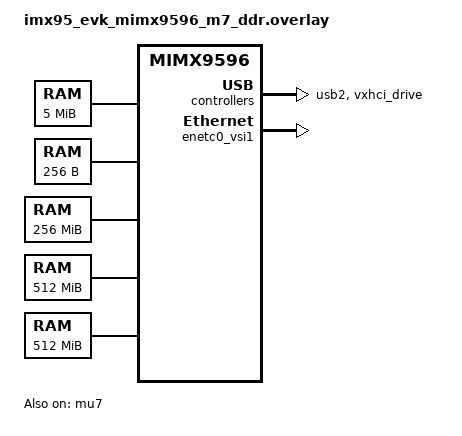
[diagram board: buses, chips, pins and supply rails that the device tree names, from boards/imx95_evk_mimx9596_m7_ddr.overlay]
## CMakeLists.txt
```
# SPDX-License-Identifier: Apache-2.0
cmake_minimum_required(VERSION 3.20.0)

# Out-of-tree drivers of this repo (USB2 EHCI host): zephyr/modules/devenv
list(APPEND ZEPHYR_EXTRA_MODULES ${CMAKE_CURRENT_SOURCE_DIR}/../../modules/devenv)

find_package(Zephyr REQUIRED HINTS $ENV{ZEPHYR_BASE})
project(m7_netipc)

target_include_directories(app PRIVATE ${LIBMETAL_INCLUDE_DIR} ${OPENAMP_INCLUDE_DIR} ${PLATFORM_DIR})
target_sources(app PRIVATE src/main.c src/rpmsg.c src/net.c src/reflector.c src/shm.c)
# Zephyr's own USB host stack on USB2 (off while the vEHCI translator owns USB2)
target_sources_ifdef(CONFIG_USB_HOST_STACK app PRIVATE src/usb.c)
target_sources_ifdef(CONFIG_APP_VEHCI app PRIVATE src/vehci_a55.c src/a55_irq.c)
target_sources_ifdef(CONFIG_APP_VXHCI app PRIVATE src/vxhci_a55.c)
if(CONFIG_APP_VXHCI AND NOT CONFIG_APP_VEHCI)
  target_sources(app PRIVATE src/a55_irq.c)
endif()

# Linux imx_rproc (fsl,imx95-cm7) takes the M7 boot address from an ELF section
# named ".interrupts" (MCUXpresso SDK naming) and falls back to 0 (TCM) if there
# is none. Zephyr's vector table section is "rom_start", so a DDR image would be
# started at address 0 and hang silently (seen on hardware 2026-11-16). Rename
# the section in the final ELF; segments and load addresses are unchanged.
# Zephyr's own post-build hooks are collected inside find_package(Zephyr),
# before this file's code runs, so use a separate target that runs after the
# final link. objcopy --rename-section is a no-op once the name is changed.
add_custom_target(imx_rproc_vectors ALL
  COMMAND ${CMAKE_OBJCOPY} --rename-section rom_start=.interrupts
          ${ZEPHYR_BINARY_DIR}/${KERNEL_ELF_NAME}
  COMMENT "Renaming rom_start -> .interrupts for Linux imx_rproc"
)
add_dependencies(imx_rproc_vectors ${logical_target_for_zephyr_elf})
```

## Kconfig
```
# SPDX-License-Identifier: Apache-2.0
mainmenu "m7-netipc"

config APP_USB2_AUTOSTART
	bool "Start the USB2 host at boot"
	default y
	depends on USB_HOST_STACK
	help
	  Needs the M7 to own USB2 (SM config mx95devenv with USB2 in LM1);
	  otherwise the first register access is a bus fault. Without it,
	  start the host with the "usb2 start" shell command.

config APP_VEHCI
	bool "Wimmo virtual EHCI for Linux on the A55"
	default y
	select VEHCI
	help
	  Emulate an EHCI controller in the first 4 KiB of the m7shm window for
	  Linux's stock ehci-platform driver (see src/vehci_a55.c).

config APP_VEHCI_XLAT
	bool "Translate the Wimmo virtual EHCI to the physical USB2 controller"
	default y
	depends on APP_VEHCI && !USB_HOST_STACK
	select VEHCI_XLAT
	help
	  Linux's EHCI driver enumerates and drives the devices on the physical
	  USB2 port through the virtual EHCI; the M7 relays every stage.

config APP_VEHCI_TESTDEV
	bool "Attach the Wimmo test device at boot"
	default y
	depends on APP_VEHCI && !APP_VEHCI_XLAT

config APP_VXHCI
	bool "Wimmo virtual xHCI with a virtual USB 3.0 drive, for Linux on the A55"
	default y
	select VXHCI
	help
	  Emulate an xHCI controller in the second 4 KiB of the m7shm window
	  for Linux's stock xhci-plat driver, with a RAM-backed SuperSpeed
	  mass storage device on its USB 3 port (see src/vxhci_a55.c).

source "Kconfig.zephyr"
```

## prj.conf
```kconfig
# m7-netipc: Zephyr on the i.MX95 Cortex-M7, loaded by Linux (remoteproc)
CONFIG_MAIN_STACK_SIZE=4096
CONFIG_HEAP_MEM_POOL_SIZE=65536

# --- IPC: OpenAMP RPMsg with a resource table (Linux is the host) ---
CONFIG_IPM=y
CONFIG_OPENAMP=y
CONFIG_OPENAMP_RSC_TABLE=y
CONFIG_OPENAMP_RSC_TABLE_NUM_RPMSG_BUFF=16
CONFIG_OPENAMP_MASTER=n

# --- Shell on the M7 debug UART and over RPMsg (/dev/ttyRPMSG* on Linux) ---
CONFIG_SHELL=y
CONFIG_SHELL_BACKEND_SERIAL=y
CONFIG_SHELL_BACKEND_RPMSG=y
CONFIG_SHELL_STACK_SIZE=4096
CONFIG_SHELL_PROMPT_RPMSG="m7:~$ "
CONFIG_SHELL_PROMPT_UART="m7-uart:~$ "
CONFIG_KERNEL_SHELL=y
CONFIG_DEVICE_SHELL=y
# devmem <addr> [width [value]]: raw register access from the shell (bring-up)
CONFIG_DEVMEM_SHELL=y

# --- Logging ---
CONFIG_LOG=y
CONFIG_LOG_DEFAULT_LEVEL=3
CONFIG_PRINTK=y

# --- Networking over the ENETC0 VF (VSI) shared with Linux ---
CONFIG_NETWORKING=y
CONFIG_NET_L2_ETHERNET=y
CONFIG_NET_IPV4=y
CONFIG_NET_IPV6=n
CONFIG_NET_UDP=y
CONFIG_NET_TCP=y
CONFIG_NET_ARP=y
CONFIG_NET_ICMPV4_ACCEPT_BROADCAST=y
CONFIG_NET_SOCKETS=y
CONFIG_NET_DHCPV4=y
# The app starts DHCPv4 itself after adopting the Linux-assigned VF MAC
# (src/net.c), so net_config must not start a second client at boot.
CONFIG_NET_CONFIG_SETTINGS=n
# Needed to change the MAC (NET_REQUEST_ETHERNET_SET_MAC_ADDRESS)
CONFIG_NET_L2_ETHERNET_MGMT=y
# 169.254.x.x link-local address when there is no DHCP server, e.g. a cable
# straight to a laptop
CONFIG_NET_IPV4_AUTO=y
CONFIG_NET_MGMT=y
CONFIG_NET_MGMT_EVENT=y
CONFIG_NET_MGMT_EVENT_INFO=y
CONFIG_NET_PKT_RX_COUNT=32
CONFIG_NET_PKT_TX_COUNT=32
CONFIG_NET_BUF_RX_COUNT=64
CONFIG_NET_BUF_TX_COUNT=64
CONFIG_NET_MAX_CONTEXTS=10
CONFIG_NET_SHELL=y
CONFIG_NET_STATISTICS=y
CONFIG_NET_STATISTICS_ETHERNET=y
CONFIG_NET_LOG=y
CONFIG_POSIX_API=y
CONFIG_ETH_DRIVER=y

# --- Random numbers ---
# The M7 has no entropy driver (the TRNG belongs to the ELE). The timer-based
# generator is fine for TCP ports/DHCP xids but NOT cryptographically secure.
CONFIG_TEST_RANDOM_GENERATOR=y
CONFIG_TIMER_RANDOM_GENERATOR=y

# --- L2 reflector (src/reflector.c) ---
# Process received frames in the NETC driver's RX thread instead of handing
# them to a separate RX traffic-class thread: one context switch less per
# frame. The whole stack (ARP, UDP, TCP, DHCP) then runs in that thread, so
# it needs a bigger stack than the driver's default 1500 bytes.
CONFIG_NET_TC_RX_COUNT=0
CONFIG_ETH_NXP_IMX_RX_THREAD_STACK_SIZE=4096
# Core cycle counter (DWT) for timing the reflector handler
CONFIG_TIMING_FUNCTIONS=y

# --- USB2 (EHCI, modules/devenv uhc_ci_ehci) ---
# The Wimmo virtual EHCI translator (APP_VEHCI_XLAT) drives USB2 for Linux.
# For Zephyr's own USB host stack on USB2 instead, set CONFIG_USB_HOST_STACK=y
# (plus CONFIG_USBH_HUB_CLASS/CONFIG_USBH_SHELL); that turns the translator off.
CONFIG_UHC_DRIVER=y
CONFIG_UHC_DRIVER_LOG_LEVEL_INF=y

# Per-thread CPU time (vehci perf)
CONFIG_THREAD_RUNTIME_STATS=y
CONFIG_SCHED_THREAD_USAGE_ALL=y
# count thread time in CPU cycles (DWT), not 32 kHz timer ticks
CONFIG_THREAD_RUNTIME_STATS_USE_TIMING_FUNCTIONS=y

# Optimize for speed (-O2) rather than size: the vEHCI/translator hot paths
CONFIG_SPEED_OPTIMIZATIONS=y
```

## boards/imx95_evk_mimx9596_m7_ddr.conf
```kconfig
# From samples/subsys/ipc/openamp_rsc_table/boards/imx95_evk_mimx9596_m7.conf
CONFIG_CLOCK_CONTROL=y
CONFIG_OPENAMP_WITH_DCACHE=y
CONFIG_ARM_SCMI=y
CONFIG_MBOX_INIT_PRIORITY=0
# Off: Linux copies its resource table to 0x88220000 before starting the M7 and
# the app uses it in place (see src/rpmsg.c). Copying would clobber the vrings.
CONFIG_OPENAMP_COPY_RSC_TABLE=n
```

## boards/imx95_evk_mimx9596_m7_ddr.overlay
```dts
/*
 * SPDX-License-Identifier: Apache-2.0
 *
 * m7-netipc on the i.MX95 EVK Cortex-M7, running from DDR (0x80000000, loaded
 * by Linux remoteproc into the m7-ddr reserved region).
 *
 * IPC: same layout as the Linux imx95-19x19-evk dts cm7 node - vrings and
 * vdev buffers at 0x88000000, resource table at 0x88220000, MU7 doorbells.
 *
 * Ethernet: Linux owns NETC (block control, PSI/PF, EMDIO, PHY, PTP). The M7
 * drives only ENETC0 VF1 (VSI) through the same RJ45 port; the System Manager
 * config mx95devenv grants NETC_VSI1/NETC_LDID3 to the M7, and Linux's
 * m7-vf-handoff.service enables and trusts the VF.
 */

#include <zephyr/dt-bindings/memory-attr/memory-attr-arm.h>

/ {
	chosen {
		zephyr,ipc_shm = &shmem;
		zephyr,ipc_rsc_table = &rsc_table;
		zephyr,ipc = &mailbox0;
	};

	shmem: memory@88000000 {
		compatible = "mmio-sram";
		reg = <0x88000000 0x500000>;
	};

	rsc_table: memory@88220000 {
		compatible = "mmio-sram";
		reg = <0x88220000 0x100>;
	};

	mailbox0: mailbox {
		compatible = "zephyr,mbox-ipm";
		mboxes = <&mu7 1>, <&mu7 1>;
		mbox-names = "tx", "rx";
		status = "okay";
	};

	/*
	 * Memory window shared with Linux: the upper 128 KiB of DTCM. The DDR
	 * board target puts nothing in DTCM (zephyr,sram = &ddr). Linux maps the
	 * same memory at 0x20420000 (devenv dts m7-shm node, m7shm.ko); keep
	 * both in sync.
	 */
	m7shm: m7shm@20020000 {
		compatible = "devenv,imx95-m7shm";
		reg = <0x20020000 DT_SIZE_K(128)>;
	};

	/*
	 * USB2: ChipIdea EHCI host on the EVK Type-A port, owned by the M7 (SM
	 * config mx95devenv: USB2 in LM1; Linux has no USB2 node). Driver:
	 * modules/devenv uhc_ci_ehci. EHCI structures go in the first 32 KiB of
	 * DTCM (never cached on the M7); the controller reaches DTCM at
	 * 0x20400000 on the system bus, untranslated by the SMMU (m7-dma-handoff).
	 */
	usb2: zephyr_uhc0: usb@4c200000 {
		compatible = "devenv,ci-ehci";
		reg = <0x4c200000 0x200>, <0x4c200200 0x200>;
		reg-names = "core", "usbnc";
		interrupt-parent = <&nvic>;
		interrupts = <176 0>;
		devenv,pool = <0x20000000 DT_SIZE_K(32)>;
		devenv,pool-bus-addr = <0x20400000>;
		disable-over-current;
		status = "okay";
	};

	/*
	 * Linux DDR that the virtual EHCI ("Wimmo", src/vehci_a55.c) reads and
	 * writes: Linux's queue heads, qTDs and buffers for 32-bit DMA. The SM
	 * config grants the M7 0x90000000-0xDFFFFFFF; Linux keeps the vEHCI's DMA
	 * there (dma-ranges). Not cached on the M7, so both sides see each other's
	 * writes (Linux maps its coherent DMA memory non-cacheable too).
	 * ARMv7-M MPU regions: power-of-two sizes, aligned.
	 */
	/*
	 * Backing store of the virtual USB 3.0 drive (src/vxhci_a55.c): M7 DDR
	 * above the image, inside Linux's m7 reservation window but outside
	 * Linux RAM (which starts at 0x90000000). Cached: only the M7 uses it.
	 */
	vxhci_drive: memory@83000000 {
		compatible = "zephyr,memory-region", "mmio-sram";
		reg = <0x83000000 DT_SIZE_M(64)>;
		zephyr,memory-region = "VXHCI_DRIVE";
		zephyr,memory-attr = <DT_MEM_ARM(ATTR_MPU_RAM)>;
	};

	linux_ddr0: memory@90000000 {
		compatible = "zephyr,memory-region", "mmio-sram";
		reg = <0x90000000 DT_SIZE_M(256)>;
		zephyr,memory-region = "LINUX_DDR0";
		zephyr,memory-attr = <DT_MEM_ARM(ATTR_MPU_RAM_NOCACHE)>;
	};

	linux_ddr1: memory@a0000000 {
		compatible = "zephyr,memory-region", "mmio-sram";
		reg = <0xa0000000 DT_SIZE_M(512)>;
		zephyr,memory-region = "LINUX_DDR1";
		zephyr,memory-attr = <DT_MEM_ARM(ATTR_MPU_RAM_NOCACHE)>;
	};

	linux_ddr2: memory@c0000000 {
		compatible = "zephyr,memory-region", "mmio-sram";
		reg = <0xc0000000 DT_SIZE_M(512)>;
		zephyr,memory-region = "LINUX_DDR2";
		zephyr,memory-attr = <DT_MEM_ARM(ATTR_MPU_RAM_NOCACHE)>;
	};
};

&mu7 {
	status = "okay";
};

/* Owned by Linux on the A55 */
&netc_blk_ctrl {
	status = "disabled";
};

&enetc_psi0 {
	status = "disabled";
};

&emdio {
	status = "disabled";
};

&phy0 {
	status = "disabled";
};

&enetc_ptp_clock {
	status = "disabled";
};

/* ENETC0 VF1: the M7's network interface on the shared RJ45 port. Fixed,
 * locally administered MAC; Linux's m7-vf-handoff assigns the same one (VF_MAC).
 */
&enetc0_vsi1 {
	local-mac-address = [02 04 9f 95 00 07];
	status = "okay";
};
```

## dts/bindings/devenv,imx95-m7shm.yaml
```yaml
# SPDX-License-Identifier: Apache-2.0
description: |
  Memory window shared with Linux on the A55, in the M7 DTCM. Linux reaches
  the same memory through the M7 system-bus slave port (DTCM 0x20000000 on the
  M7 = 0x20400000 on the A55); its node is m7-shm@20420000 in the devenv dts.
  The M7 zeroes the window at boot and otherwise does not use it.

compatible: "devenv,imx95-m7shm"

include: base.yaml

properties:
  reg:
    required: true
```

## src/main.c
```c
/*
 * m7-netipc: reference Zephyr application for the i.MX95 Cortex-M7.
 *
 *  - loaded and started by Linux via remoteproc (m7ctl run <elf>)
 *  - RPMsg link to Linux: Zephyr shell on /dev/ttyRPMSG0, echo endpoint
 *  - Ethernet on ENETC0 VF1, sharing the RJ45 port with Linux (own MAC/IP)
 *  - "m7 status" shell command summarising all of the above
 *
 * Copyright (c) 2026, imx95-devenv contributors
 * SPDX-License-Identifier: Apache-2.0
 */

#include <zephyr/kernel.h>
#include <zephyr/shell/shell.h>
#include <zephyr/net/net_if.h>
#include <zephyr/logging/log.h>

#include "app.h"

LOG_MODULE_REGISTER(m7_netipc, LOG_LEVEL_INF);

volatile bool app_rpmsg_up;
char app_ip_str[NET_IPV4_ADDR_LEN] = "none";
volatile uint32_t app_udp_echo_count;

static int cmd_m7_status(const struct shell *sh, size_t argc, char **argv)
{
	struct net_if *iface = net_if_get_default();
	char mac[sizeof("xx:xx:xx:xx:xx:xx")] = "-";

	if (iface) {
		struct net_linkaddr *l = net_if_get_link_addr(iface);

		if (l->len == 6) {
			snprintk(mac, sizeof(mac), "%02x:%02x:%02x:%02x:%02x:%02x", l->addr[0],
				 l->addr[1], l->addr[2], l->addr[3], l->addr[4], l->addr[5]);
		}
	}
	shell_print(sh, "m7-netipc on %s, up %u s", CONFIG_BOARD_TARGET,
		    (uint32_t)(k_uptime_get() / 1000));
	shell_print(sh, "rpmsg:    %s", app_rpmsg_up ? "up" : "waiting for Linux");
	shell_print(sh, "ethernet: VF %s, carrier %s, mac %s",
		    iface ? "present" : "missing",
		    (iface && net_if_is_carrier_ok(iface)) ? "up" : "down", mac);
	shell_print(sh, "ipv4:     %s", app_ip_str);
	shell_print(sh, "udp echo: port 7, %u datagrams", app_udp_echo_count);
	return 0;
}

SHELL_STATIC_SUBCMD_SET_CREATE(m7_cmds,
	SHELL_CMD(status, NULL, "RPMsg/Ethernet status", cmd_m7_status),
	SHELL_SUBCMD_SET_END);
SHELL_CMD_REGISTER(m7, &m7_cmds, "imx95-devenv M7 commands", NULL);

int main(void)
{
	LOG_INF("m7-netipc starting on %s", CONFIG_BOARD_TARGET);
	app_net_start();
	return 0;
}
```

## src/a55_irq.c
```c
/*
 * Shared A55 interrupt line of the Wimmo virtual controllers (see a55_irq.h).
 * Writing MSIIR raises MSGINTR1, reading MSIR clears it; Linux never touches it.
 *
 * Copyright (c) 2026, imx95-devenv contributors
 * SPDX-License-Identifier: Apache-2.0
 */

#include <zephyr/init.h>
#include <zephyr/kernel.h>
#include <zephyr/sys/sys_io.h>

#include "a55_irq.h"

#define A55_MSGINTR_BASE	0x44690000U
#define MSGINTR_MSIIR	0x0	/* channel 0 */
#define MSGINTR_MSIR	0x4

static struct k_spinlock lock;
static uint32_t sources;

void a55_irq_set(enum a55_irq_src src, bool asserted)
{
	k_spinlock_key_t key = k_spin_lock(&lock);
	uint32_t before = sources;

	if (asserted) {
		sources |= BIT(src);
	} else {
		sources &= ~BIT(src);
	}
	if (sources && !before) {
		sys_write32(0, A55_MSGINTR_BASE + MSGINTR_MSIIR);
	} else if (!sources && before) {
		(void)sys_read32(A55_MSGINTR_BASE + MSGINTR_MSIR);
	}
	k_spin_unlock(&lock, key);
}

static int a55_irq_init(void)
{
	(void)sys_read32(A55_MSGINTR_BASE + MSGINTR_MSIR);	/* start deasserted */
	return 0;
}
SYS_INIT(a55_irq_init, APPLICATION, 97);
```

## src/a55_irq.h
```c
/* SPDX-License-Identifier: Apache-2.0 */
/*
 * The A55 interrupt line of the Wimmo virtual controllers: MSGINTR1 channel 0,
 * wired to the A55 GIC as SPI 236 (level). The virtual EHCI and xHCI share it
 * (Linux requests it shared): the line is held while either has one pending.
 */
#ifndef M7_NETIPC_A55_IRQ_H
#define M7_NETIPC_A55_IRQ_H

#include <stdbool.h>

enum a55_irq_src {
	A55_IRQ_VEHCI,
	A55_IRQ_VXHCI,
};

void a55_irq_set(enum a55_irq_src src, bool asserted);

#endif
```

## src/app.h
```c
/* SPDX-License-Identifier: Apache-2.0 */
#ifndef M7_NETIPC_APP_H
#define M7_NETIPC_APP_H

#include <stdbool.h>
#include <stdint.h>
#include <zephyr/net/net_ip.h>

extern volatile bool app_rpmsg_up;
extern char app_ip_str[NET_IPV4_ADDR_LEN];
extern volatile uint32_t app_udp_echo_count;

void app_net_start(void);

#endif
```

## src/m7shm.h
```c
/* SPDX-License-Identifier: Apache-2.0 */
/*
 * Memory window in the M7 DTCM, shared with Linux (m7shm.ko, /dev/m7shm).
 * The first 4 KiB hold the Wimmo virtual EHCI's registers (CONFIG_APP_VEHCI),
 * the next 4 KiB the virtual xHCI's (CONFIG_APP_VXHCI).
 * TCM is never cached on the M7, so no cache maintenance is needed; use
 * barrier_dmem_fence_full() where the other side must see writes in order.
 */
#ifndef M7_NETIPC_M7SHM_H
#define M7_NETIPC_M7SHM_H

#include <stddef.h>
#include <stdint.h>
#include <zephyr/devicetree.h>

#define M7SHM_NODE DT_NODELABEL(m7shm)
#define M7SHM_BASE DT_REG_ADDR(M7SHM_NODE)
#define M7SHM_SIZE DT_REG_SIZE(M7SHM_NODE)

static inline volatile void *m7shm_base(void)
{
	return (volatile void *)M7SHM_BASE;
}

static inline size_t m7shm_size(void)
{
	return M7SHM_SIZE;
}

#endif
```

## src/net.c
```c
/*
 * Networking on the M7's ENETC0 VF (VSI), sharing the RJ45 port with Linux.
 *
 * DHCPv4 gets the M7 its own address on the LAN (its own MAC; the NETC
 * hardware steers frames for that MAC to the VF and everything else to the
 * Linux PF). A UDP echo service runs on port 7 so the M7 path can be tested
 * from Linux on the board or any host: `echo hi | nc -u -w1 <m7-ip> 7`.
 *
 * Copyright (c) 2026, imx95-devenv contributors
 * SPDX-License-Identifier: Apache-2.0
 */

#include <zephyr/kernel.h>
#include <zephyr/net/net_if.h>
#include <zephyr/net/net_mgmt.h>
#include <zephyr/net/dhcpv4.h>
#include <zephyr/net/socket.h>
#include <zephyr/net/ethernet_mgmt.h>
#include <zephyr/net/net_ip.h>
#include <zephyr/sys/sys_io.h>
#include <string.h>
#include <zephyr/logging/log.h>

#include "app.h"

LOG_MODULE_REGISTER(m7_net, LOG_LEVEL_INF);

#define UDP_ECHO_PORT 7

static struct net_mgmt_event_callback mgmt_cb;

static void ipv4_event(struct net_mgmt_event_callback *cb, uint64_t event, struct net_if *iface)
{
	char buf[NET_IPV4_ADDR_LEN];

	if (event != NET_EVENT_IPV4_ADDR_ADD) {
		return;
	}
	ARRAY_FOR_EACH(iface->config.ip.ipv4->unicast, i) {
		struct net_if_addr *a = &iface->config.ip.ipv4->unicast[i].ipv4;

		if (a->is_used && a->addr_type == NET_ADDR_DHCP) {
			net_addr_ntop(AF_INET, &a->address.in_addr, buf, sizeof(buf));
			snprintk(app_ip_str, sizeof(app_ip_str), "%s", buf);
			LOG_INF("M7 IPv4 address (DHCP): %s", buf);
		}
	}
}

static void udp_echo_thread(void *a, void *b, void *c)
{
	struct sockaddr_in addr = {
		.sin_family = AF_INET,
		.sin_port = htons(UDP_ECHO_PORT),
		.sin_addr.s_addr = htonl(INADDR_ANY),
	};
	static char buf[1500];
	int s = zsock_socket(AF_INET, SOCK_DGRAM, IPPROTO_UDP);

	if (s < 0 || zsock_bind(s, (struct sockaddr *)&addr, sizeof(addr)) < 0) {
		LOG_ERR("UDP echo socket setup failed: %d", errno);
		return;
	}
	LOG_INF("UDP echo listening on port %d", UDP_ECHO_PORT);

	while (1) {
		struct sockaddr_in peer;
		socklen_t plen = sizeof(peer);
		ssize_t n = zsock_recvfrom(s, buf, sizeof(buf), 0, (struct sockaddr *)&peer,
					   &plen);

		if (n > 0) {
			app_udp_echo_count++;
			zsock_sendto(s, buf, n, 0, (struct sockaddr *)&peer, plen);
		}
	}
}

K_THREAD_DEFINE(udp_echo_tid, 4096, udp_echo_thread, NULL, NULL, NULL, 7, 0, 1000);

/*
 * Use the MAC address Linux (the PSI/PF owner) assigned to this VF.
 *
 * Linux enetc4 gives every VF an administrative MAC (`ip link show eth0`:
 * "vf 1 link/ether 02:04:9f:95:00:07") and its MAC filter only accepts that address
 * for the VF, so the PSI rejects any other primary MAC the VSI asks for
 * ("VSI MAC filter not accepted by PSI", seen on hardware 2026-11-16) and
 * unicast frames for it never reach the M7. The assigned address is readable
 * from the VSI's own SIPMAR0/1 registers once the VF is enabled. m7-vf-handoff
 * assigns the same fixed MAC as the overlay's local-mac-address, so normally
 * nothing changes here; this keeps the M7 working if VF_MAC is overridden.
 */
#define VSI_NODE    DT_NODELABEL(enetc0_vsi1)
#define VSI_BASE    DT_REG_ADDR_BY_NAME(VSI_NODE, port)
#define VSI_SIPMAR0 0x80
#define VSI_SIPMAR1 0x84

static void adopt_psi_mac(struct net_if *iface)
{
	struct ethernet_req_params params = {0};
	uint32_t lo, hi;
	int ret;

	/* The SI registers are only valid once Linux has enabled SR-IOV and the
	 * driver brought the SI up (it then reports carrier).
	 */
	for (int i = 0; i < 300 && !net_if_is_carrier_ok(iface); i++) {
		k_msleep(100);
	}
	if (!net_if_is_carrier_ok(iface)) {
		LOG_WRN("VF not up after 30 s; keeping the overlay MAC");
		return;
	}

	lo = sys_read32(VSI_BASE + VSI_SIPMAR0);
	hi = sys_read32(VSI_BASE + VSI_SIPMAR1) & 0xffff;
	if (lo == 0 && hi == 0) {
		LOG_WRN("Linux assigned no VF MAC; keeping the random one");
		return;
	}
	for (int i = 0; i < 4; i++) {
		params.mac_address.addr[i] = (lo >> (8 * i)) & 0xff;
	}
	params.mac_address.addr[4] = hi & 0xff;
	params.mac_address.addr[5] = hi >> 8;

	if (memcmp(params.mac_address.addr, net_if_get_link_addr(iface)->addr, 6) == 0) {
		return;
	}

	/* The MAC can only be changed while the interface is down. */
	net_if_down(iface);
	ret = net_mgmt(NET_REQUEST_ETHERNET_SET_MAC_ADDRESS, iface, &params, sizeof(params));
	net_if_up(iface);
	if (ret) {
		LOG_ERR("setting the Linux-assigned VF MAC failed: %d", ret);
		return;
	}
	const uint8_t *m = params.mac_address.addr;

	LOG_INF("using the VF MAC assigned by Linux: %02x:%02x:%02x:%02x:%02x:%02x",
		m[0], m[1], m[2], m[3], m[4], m[5]);
}

void app_net_start(void)
{
	struct net_if *iface = net_if_get_default();

	if (!iface) {
		LOG_ERR("no network interface (is enetc0_vsi1 enabled?)");
		return;
	}
	net_mgmt_init_event_callback(&mgmt_cb, ipv4_event, NET_EVENT_IPV4_ADDR_ADD);
	net_mgmt_add_event_callback(&mgmt_cb);

	adopt_psi_mac(iface);

	/* DHCP keeps retrying until the link is up. */
	net_dhcpv4_start(iface);
	LOG_INF("DHCPv4 started on the ENETC0 VF");
}
```

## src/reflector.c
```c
/*
 * Layer-2 reflector for latency measurement.
 *
 * Every Ethernet frame with EtherType 0x88B5 (IEEE 802 "local experimental")
 * that reaches the M7's VF is sent straight back to its sender: destination
 * MAC := source MAC, source MAC := our MAC, payload untouched. The handler runs
 * in the NETC driver's RX thread (CONFIG_NET_TC_RX_COUNT=0, no RX queue hop)
 * and calls the driver's send() directly (no L2/TX queue), so the path is
 * driver RX copy -> handler -> driver TX copy.
 *
 * Measure with host/l2rtt on a PC on the same link. "m7 reflector" on the
 * shell prints counters and the time spent in the handler.
 *
 * Copyright (c) 2026, imx95-devenv contributors
 * SPDX-License-Identifier: Apache-2.0
 */

#include <string.h>
#include <zephyr/kernel.h>
#include <zephyr/net/ethernet.h>
#include <zephyr/net/net_if.h>
#include <zephyr/net/net_pkt.h>
#include <zephyr/shell/shell.h>
#include <zephyr/timing/timing.h>

#define REFLECT_ETHERTYPE 0x88B5

static struct {
	uint32_t reflected;
	uint32_t errors;
	uint64_t cyc_min;
	uint64_t cyc_max;
	uint64_t cyc_sum;
} stats = {.cyc_min = UINT64_MAX};

static enum net_verdict reflect(struct net_if *iface, uint16_t ptype, struct net_pkt *pkt)
{
	const struct device *dev = net_if_get_device(iface);
	const struct ethernet_api *api = dev->api;
	const struct net_linkaddr *own = net_if_get_link_addr(iface);
	timing_t t0 = timing_counter_get();
	timing_t t1;
	struct net_eth_hdr *hdr;
	uint64_t dt;
	int ret;

	ARG_UNUSED(ptype);

	/* The L2 has pulled the 14-byte header off the first fragment; the bytes
	 * are still in front of the data pointer.
	 */
	if (net_buf_headroom(pkt->frags) < sizeof(*hdr)) {
		stats.errors++;
		return NET_DROP;
	}
	hdr = net_buf_push(pkt->frags, sizeof(*hdr));
	if (memcmp(hdr->src.addr, own->addr, sizeof(hdr->src.addr)) == 0) {
		return NET_DROP; /* our own frame; never bounce it again */
	}
	memcpy(hdr->dst.addr, hdr->src.addr, sizeof(hdr->dst.addr));
	memcpy(hdr->src.addr, own->addr, sizeof(hdr->src.addr));
	net_pkt_cursor_init(pkt);

	net_if_tx_lock(iface);
	ret = api->send(dev, pkt);
	net_if_tx_unlock(iface);
	net_pkt_unref(pkt);

	t1 = timing_counter_get();
	dt = timing_cycles_get(&t0, &t1);
	if (ret == 0) {
		stats.reflected++;
		stats.cyc_sum += dt;
		stats.cyc_min = MIN(stats.cyc_min, dt);
		stats.cyc_max = MAX(stats.cyc_max, dt);
	} else {
		stats.errors++;
	}
	return NET_OK;
}

ETH_NET_L3_REGISTER(reflector, REFLECT_ETHERTYPE, reflect);

/* The kernel cycle counter runs at 32768 Hz on this board; time the handler
 * with the core's DWT cycle counter instead.
 */
static int reflector_timing_init(void)
{
	timing_init();
	timing_start();
	return 0;
}
SYS_INIT(reflector_timing_init, APPLICATION, CONFIG_APPLICATION_INIT_PRIORITY);

static uint32_t cyc_to_ns(uint64_t cyc)
{
	return (uint32_t)timing_cycles_to_ns(cyc);
}

static int cmd_reflector(const struct shell *sh, size_t argc, char **argv)
{
	uint32_t n = stats.reflected;

	if (argc > 1 && strcmp(argv[1], "reset") == 0) {
		memset(&stats, 0, sizeof(stats));
		stats.cyc_min = UINT64_MAX;
		shell_print(sh, "reflector counters reset");
		return 0;
	}
	shell_print(sh, "ethertype 0x%04x: %u reflected, %u errors", REFLECT_ETHERTYPE, n,
		    stats.errors);
	if (n > 0) {
		shell_print(sh, "handler (header swap + driver send): min %u ns, avg %u ns, max %u ns",
			    cyc_to_ns(stats.cyc_min), cyc_to_ns(stats.cyc_sum / n),
			    cyc_to_ns(stats.cyc_max));
		shell_print(sh, "(DWT cycle counter at %u MHz)", timing_freq_get_mhz());
	}
	return 0;
}

SHELL_CMD_ARG_REGISTER(reflector, NULL, "L2 reflector counters ('reflector reset' clears them)",
		       cmd_reflector, 1, 1);
```

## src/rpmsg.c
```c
/*
 * RPMsg link to Linux on the A55 (OpenAMP, Linux = host, M7 = remote).
 *
 * Endpoints announced to Linux:
 *   "rpmsg-tty"            Zephyr shell  -> /dev/ttyRPMSG0 (rpmsg_tty)
 *   "rpmsg-client-sample"  echo service  -> Linux rpmsg_client_sample module
 *
 * Platform/vdev setup adapted from zephyr samples/subsys/ipc/openamp_rsc_table
 * Copyright (c) 2020, STMICROELECTRONICS
 * Copyright (c) 2026, imx95-devenv contributors
 *
 * SPDX-License-Identifier: Apache-2.0
 */

#include <zephyr/kernel.h>
#include <zephyr/device.h>
#include <zephyr/drivers/ipm.h>
#include <zephyr/shell/shell_rpmsg.h>
#include <zephyr/logging/log.h>
#include <zephyr/version.h>
#include <string.h>

#include <openamp/open_amp.h>
#include <metal/sys.h>
#include <metal/io.h>
#include <resource_table.h>
#include <addr_translation.h>

#include "app.h"

LOG_MODULE_REGISTER(m7_rpmsg, LOG_LEVEL_INF);

#if !DT_HAS_CHOSEN(zephyr_ipc_shm)
#error "zephyr,ipc_shm must be defined (see boards/*.overlay)"
#endif

#define SHM_NODE       DT_CHOSEN(zephyr_ipc_shm)
#define SHM_START_ADDR DT_REG_ADDR(SHM_NODE)
#define SHM_SIZE       DT_REG_SIZE(SHM_NODE)

#if CONFIG_IPM_MAX_DATA_SIZE > 0
#define IPM_SEND(dev, w, id, d, s) ipm_send(dev, w, id, d, s)
#else
#define IPM_SEND(dev, w, id, d, s) ipm_send(dev, w, id, NULL, 0)
#endif

static const struct device *const ipm_handle = DEVICE_DT_GET(DT_CHOSEN(zephyr_ipc));

static metal_phys_addr_t shm_physmap = SHM_START_ADDR;
static metal_phys_addr_t rsc_tab_physmap;
static struct metal_io_region shm_io_data;
static struct metal_io_region rsc_io_data;
static struct rpmsg_virtio_device rvdev;
static void *rsc_table;
static struct rpmsg_device *rpdev;

static struct rpmsg_endpoint echo_ept;
static K_SEM_DEFINE(ipm_sem, 0, 1);

static void ipm_cb(const struct device *dev, void *context, uint32_t id, volatile void *data)
{
	k_sem_give(&ipm_sem);
}

static int mailbox_notify(void *priv, uint32_t id)
{
	IPM_SEND(ipm_handle, 0, id, &id, 4);
	return 0;
}

static void ns_cb(struct rpmsg_device *rdev, const char *name, uint32_t src)
{
	LOG_WRN("unexpected name service announcement from Linux: %s", name);
}

/* Echo everything back, prefixed - pairs with Linux's rpmsg_client_sample */
static int echo_cb(struct rpmsg_endpoint *ept, void *data, size_t len, uint32_t src, void *priv)
{
	char buf[RPMSG_BUFFER_SIZE];
	int n = snprintf(buf, sizeof(buf), "M7 echo: ");

	len = MIN(len, sizeof(buf) - n);
	memcpy(buf + n, data, len);
	rpmsg_send(ept, buf, n + len);
	return RPMSG_SUCCESS;
}

static int platform_init(void)
{
	struct metal_init_params metal_params = METAL_INIT_DEFAULTS;
	int rsc_size;
	int ret;

	ret = metal_init(&metal_params);
	if (ret) {
		LOG_ERR("metal_init failed: %d", ret);
		return ret;
	}

	metal_io_init(&shm_io_data, (void *)SHM_START_ADDR, &shm_physmap, SHM_SIZE, -1, 0,
		      addr_translation_get_ops(shm_physmap));

	/*
	 * Use the resource table Linux placed at the shared rsc_table address
	 * (0x88220000). Linux imx_rproc copies its cached table (with the vring
	 * addresses it allocated) there before starting the M7 and later writes
	 * the virtio status into it. CONFIG_OPENAMP_COPY_RSC_TABLE would memcpy
	 * the firmware defaults over that copy at boot and break vring setup
	 * ("failed to create RPMsg virtio device", seen on hardware 2026-11-16),
	 * so it is off. The .resource_table section in the ELF is what Linux
	 * parses at load time.
	 */
	rsc_table = (void *)DT_REG_ADDR(DT_CHOSEN(zephyr_ipc_rsc_table));
	rsc_size = sizeof(struct fw_resource_table);
	rsc_tab_physmap = (uintptr_t)rsc_table;
	metal_io_init(&rsc_io_data, rsc_table, &rsc_tab_physmap, rsc_size, -1, 0, NULL);

	if (!device_is_ready(ipm_handle)) {
		LOG_ERR("IPM device not ready");
		return -ENODEV;
	}
	ipm_register_callback(ipm_handle, ipm_cb, NULL);
	return ipm_set_enabled(ipm_handle, 1);
}

static struct rpmsg_device *create_vdev(void)
{
	struct fw_rsc_vdev_vring *vr;
	struct virtio_device *vdev;

	vdev = rproc_virtio_create_vdev(VIRTIO_DEV_DEVICE, VDEV_ID, rsc_table_to_vdev(rsc_table),
					&rsc_io_data, NULL, mailbox_notify, NULL);
	if (!vdev) {
		return NULL;
	}

	/* Blocks until Linux (remoteproc/virtio) has set up its side */
	rproc_virtio_wait_remote_ready(vdev);

	vr = rsc_table_get_vring0(rsc_table);
	if (rproc_virtio_init_vring(vdev, 0, vr->notifyid, (void *)vr->da, &rsc_io_data, vr->num,
				    vr->align)) {
		goto fail;
	}
	vr = rsc_table_get_vring1(rsc_table);
	if (rproc_virtio_init_vring(vdev, 1, vr->notifyid, (void *)vr->da, &rsc_io_data, vr->num,
				    vr->align)) {
		goto fail;
	}
	if (rpmsg_init_vdev(&rvdev, vdev, ns_cb, &shm_io_data, NULL)) {
		goto fail;
	}
	return rpmsg_virtio_get_rpmsg_device(&rvdev);

fail:
	rproc_virtio_remove_vdev(vdev);
	return NULL;
}

static void rpmsg_thread(void *a, void *b, void *c)
{
	if (platform_init()) {
		return;
	}

	LOG_INF("waiting for Linux to bring up the RPMsg link");
	rpdev = create_vdev();
	if (!rpdev) {
		LOG_ERR("failed to create RPMsg virtio device");
		return;
	}

	if (shell_backend_rpmsg_init_transport(rpdev)) {
		LOG_ERR("RPMsg shell backend failed");
	}
	if (rpmsg_create_ept(&echo_ept, rpdev, "rpmsg-client-sample", RPMSG_ADDR_ANY,
			     RPMSG_ADDR_ANY, echo_cb, NULL)) {
		LOG_ERR("echo endpoint failed");
	}
	LOG_INF("RPMsg link up: shell on rpmsg-tty, echo on rpmsg-client-sample");
	shell_print(shell_backend_rpmsg_get_ptr(),
		    "\n*** i.MX95 Cortex-M7 online: Zephyr %s, m7-netipc, board %s ***\n"
		    "*** RPMsg shell from Linux. Try: m7 status | net iface | kernel threads ***",
		    KERNEL_VERSION_STRING, CONFIG_BOARD_TARGET);
	app_rpmsg_up = true;

	while (1) {
		k_sem_take(&ipm_sem, K_FOREVER);
		rproc_virtio_notified(rvdev.vdev, VRING1_ID);
	}
}

K_THREAD_DEFINE(rpmsg_tid, 4096, rpmsg_thread, NULL, NULL, NULL, K_PRIO_COOP(8), 0, 0);
```

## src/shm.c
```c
/*
 * Memory window in the M7 DTCM, shared with Linux.
 *
 * The window is zeroed once at boot, before Linux can see the M7 as running
 * through remoteproc (Linux marks the window online once the M7 started),
 * so both sides start from known contents. Nothing else here touches it;
 * the shell commands below are for testing from the M7 side and match
 * m7shm-tool on Linux ("seq" = each word holds its own byte offset).
 *
 * Copyright (c) 2026, imx95-devenv contributors
 * SPDX-License-Identifier: Apache-2.0
 */

#include <stdlib.h>
#include <string.h>
#include <zephyr/init.h>
#include <zephyr/kernel.h>
#include <zephyr/shell/shell.h>
#include <zephyr/timing/timing.h>

#include "m7shm.h"

static int m7shm_init(void)
{
	volatile uint32_t *w = m7shm_base();

	for (size_t i = 0; i < M7SHM_SIZE / 4; i++) {
		w[i] = 0;
	}
	return 0;
}
SYS_INIT(m7shm_init, PRE_KERNEL_1, 0);

static int parse_u32(const struct shell *sh, const char *s, uint32_t *v)
{
	char *end;

	*v = strtoul(s, &end, 0);
	if (*s == '\0' || *end != '\0') {
		shell_error(sh, "bad number: %s", s);
		return -EINVAL;
	}
	return 0;
}

/* [OFF [LEN]] from argv[i]; default: from OFF to the end of the window */
static int parse_range(const struct shell *sh, size_t argc, char **argv, size_t i,
		       uint32_t *off, uint32_t *len)
{
	*off = 0;
	if (argc > i && parse_u32(sh, argv[i], off)) {
		return -EINVAL;
	}
	*len = *off <= M7SHM_SIZE ? M7SHM_SIZE - *off : 0;
	if (argc > i + 1 && parse_u32(sh, argv[i + 1], len)) {
		return -EINVAL;
	}
	if (((*off | *len) & 3) || *off > M7SHM_SIZE || *len > M7SHM_SIZE - *off) {
		shell_error(sh, "range 0x%x+0x%x outside the window (0x%x bytes) or not 4-byte aligned",
			    *off, *len, M7SHM_SIZE);
		return -EINVAL;
	}
	return 0;
}

static int cmd_info(const struct shell *sh, size_t argc, char **argv)
{
	shell_print(sh, "M7 address:         0x%08x", (uint32_t)M7SHM_BASE);
	shell_print(sh, "host (A55) address: 0x%08x", (uint32_t)M7SHM_BASE + 0x400000);
	shell_print(sh, "size:               %u bytes (%u KiB)", M7SHM_SIZE, M7SHM_SIZE / 1024);
	return 0;
}

static int cmd_dump(const struct shell *sh, size_t argc, char **argv)
{
	volatile uint32_t *w = m7shm_base();
	uint32_t off, len;

	if (parse_range(sh, argc, argv, 1, &off, &len)) {
		return -EINVAL;
	}
	if (argc <= 2 && len > 256) {
		len = 256;
	}
	for (uint32_t o = off; o < off + len; o += 16) {
		char line[64];
		int n = snprintk(line, sizeof(line), "%05x:", o);

		for (uint32_t k = o; k < o + 16 && k < off + len; k += 4) {
			n += snprintk(line + n, sizeof(line) - n, " %08x", w[k / 4]);
		}
		shell_print(sh, "%s", line);
	}
	return 0;
}

static int cmd_write(const struct shell *sh, size_t argc, char **argv)
{
	volatile uint32_t *w = m7shm_base();
	uint32_t off, val;

	if (parse_u32(sh, argv[1], &off) || parse_u32(sh, argv[2], &val)) {
		return -EINVAL;
	}
	if ((off & 3) || off >= M7SHM_SIZE) {
		shell_error(sh, "offset must be 4-byte aligned and below 0x%x", M7SHM_SIZE);
		return -EINVAL;
	}
	w[off / 4] = val;
	shell_print(sh, "%05x: %08x", off, w[off / 4]);
	return 0;
}

static int fill_or_check(const struct shell *sh, size_t argc, char **argv, bool check)
{
	volatile uint32_t *w = m7shm_base();
	bool seq = strcmp(argv[1], "seq") == 0;
	uint32_t off, len, val = 0, bad = 0;

	if ((!seq && parse_u32(sh, argv[1], &val)) || parse_range(sh, argc, argv, 2, &off, &len)) {
		return -EINVAL;
	}
	for (uint32_t o = off; o < off + len; o += 4) {
		uint32_t want = seq ? o : val;

		if (!check) {
			w[o / 4] = want;
		} else if (w[o / 4] != want && !bad++) {
			shell_print(sh, "first mismatch at 0x%05x: got %08x want %08x", o, w[o / 4],
				    want);
		}
	}
	if (check) {
		shell_print(sh, "check 0x%x+0x%x: %s (%u bad words)", off, len, bad ? "FAIL" : "OK",
			    bad);
		return bad ? -EIO : 0;
	}
	shell_print(sh, "filled 0x%x+0x%x with %s", off, len, argv[1]);
	return 0;
}

static int cmd_fill(const struct shell *sh, size_t argc, char **argv)
{
	return fill_or_check(sh, argc, argv, false);
}

static int cmd_check(const struct shell *sh, size_t argc, char **argv)
{
	return fill_or_check(sh, argc, argv, true);
}

static int cmd_bench(const struct shell *sh, size_t argc, char **argv)
{
	volatile uint32_t *w = m7shm_base();
	const uint32_t words = M7SHM_SIZE / 4;
	timing_t t0, t1;
	uint32_t sum = 0;
	uint64_t ns;

	timing_init();
	timing_start();

	t0 = timing_counter_get();
	for (uint32_t i = 0; i < words; i++) {
		w[i] = i;
	}
	t1 = timing_counter_get();
	ns = timing_cycles_to_ns(timing_cycles_get(&t0, &t1));
	shell_print(sh, "write: %u MB/s, %u ns per 32-bit store", (uint32_t)(M7SHM_SIZE * 1000ULL / ns),
		    (uint32_t)(ns / words));

	t0 = timing_counter_get();
	for (uint32_t i = 0; i < words; i++) {
		sum += w[i];
	}
	t1 = timing_counter_get();
	ns = timing_cycles_to_ns(timing_cycles_get(&t0, &t1));
	shell_print(sh, "read:  %u MB/s, %u ns per 32-bit load (sum %08x)",
		    (uint32_t)(M7SHM_SIZE * 1000ULL / ns), (uint32_t)(ns / words), sum);

	timing_stop();
	for (uint32_t i = 0; i < words; i++) {
		w[i] = 0;
	}
	shell_print(sh, "window zeroed");
	return 0;
}

SHELL_STATIC_SUBCMD_SET_CREATE(shm_cmds,
	SHELL_CMD_ARG(info, NULL, "window addresses and size", cmd_info, 1, 0),
	SHELL_CMD_ARG(dump, NULL, "[OFF [LEN]]  hex dump (default 256 bytes)", cmd_dump, 1, 2),
	SHELL_CMD_ARG(write, NULL, "OFF VALUE  write one 32-bit word", cmd_write, 3, 0),
	SHELL_CMD_ARG(fill, NULL, "VALUE|seq [OFF [LEN]]  fill 32-bit words", cmd_fill, 2, 2),
	SHELL_CMD_ARG(check, NULL, "VALUE|seq [OFF [LEN]]  verify 32-bit words", cmd_check, 2, 2),
	SHELL_CMD_ARG(bench, NULL, "M7 access timing (zeroes the window)", cmd_bench, 1, 0),
	SHELL_SUBCMD_SET_END);
SHELL_CMD_REGISTER(shm, &shm_cmds, "memory window shared with Linux (M7 DTCM)", NULL);
```

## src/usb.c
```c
/*
 * USB2 host on the M7: start Zephyr's USB host stack on the EHCI controller
 * (modules/devenv uhc_ci_ehci) and report devices on the M7 console.
 *
 * The EHCI driver prints root-port attach/detach and speed. The "monitor"
 * class below prints every device the host stack enumerates, also behind
 * hubs: it matches everything, prints, and declines, so the real class
 * drivers (hub, ...) still bind. Its name sorts before them, so it runs first.
 *
 * Copyright (c) 2026, imx95-devenv contributors
 * SPDX-License-Identifier: Apache-2.0
 */

#include <zephyr/kernel.h>
#include <zephyr/logging/log.h>
#include <zephyr/shell/shell.h>
#include <zephyr/sys/byteorder.h>
#include <zephyr/sys/sys_io.h>
#include <zephyr/usb/usbh.h>

LOG_MODULE_REGISTER(m7_usb, LOG_LEVEL_INF);

/* usbh_class.h (private): probe of the whole device rather than one interface */
#define IFNUM_DEVICE 0xff

USBH_CONTROLLER_DEFINE(usb2_host, DEVICE_DT_GET(DT_NODELABEL(usb2)));

static const char *speed_str(enum usb_device_speed s)
{
	static const char *const names[] = {"?", "low", "full", "high", "super"};

	return s < ARRAY_SIZE(names) ? names[s] : "?";
}

static const char *class_str(uint8_t c)
{
	switch (c) {
	case 0x00: return "per-interface";
	case 0x01: return "audio";
	case 0x02: return "CDC";
	case 0x03: return "HID";
	case 0x07: return "printer";
	case 0x08: return "mass storage";
	case 0x09: return "hub";
	case 0x0a: return "CDC data";
	case 0x0e: return "video";
	case 0xe0: return "wireless";
	case 0xef: return "misc";
	case 0xff: return "vendor";
	default: return "other";
	}
}

static int monitor_init(struct usbh_class_data *const c_data)
{
	return 0;
}

static int monitor_probe(struct usbh_class_data *const c_data, struct usb_device *const udev,
			 const uint8_t iface)
{
	const struct usb_device_descriptor *d = &udev->dev_desc;

	if (iface == IFNUM_DEVICE) {
		char where[24] = "root port";

		if (udev->hub) {
			snprintk(where, sizeof(where), "hub %u port %u", udev->hub->addr,
				 udev->hub_port);
		}
		LOG_INF("USB2: device %04x:%04x at address %u (%s-speed, %s), class %02x (%s), "
			"USB %x.%02x",
			sys_le16_to_cpu(d->idVendor), sys_le16_to_cpu(d->idProduct), udev->addr,
			speed_str(udev->speed), where, d->bDeviceClass, class_str(d->bDeviceClass),
			sys_le16_to_cpu(d->bcdUSB) >> 8, sys_le16_to_cpu(d->bcdUSB) & 0xff);
	} else {
		LOG_INF("USB2:   address %u interface %u", udev->addr, iface);
	}
	return -ENOTSUP;	/* let the real class drivers bind */
}

static struct usbh_class_api monitor_api = {
	.init = monitor_init,
	.probe = monitor_probe,
};

USBH_DEFINE_CLASS(devenv_usb_monitor, &monitor_api, NULL, NULL);

static bool started;

static int usb2_start(void)
{
	int err;

	if (started) {
		return -EALREADY;
	}
	err = usbh_init(&usb2_host);
	if (err == 0) {
		err = usbh_enable(&usb2_host);
	}
	if (err) {
		LOG_ERR("USB2: host start failed (%d)", err);
		return err;
	}
	started = true;
	LOG_INF("USB2: host started, waiting for devices");
	return 0;
}

static int cmd_usb2_start(const struct shell *sh, size_t argc, char **argv)
{
	return usb2_start();
}

static int cmd_usb2_regs(const struct shell *sh, size_t argc, char **argv)
{
	const uintptr_t base = DT_REG_ADDR_BY_IDX(DT_NODELABEL(usb2), 0);
	static const struct {
		uint16_t off;
		const char *name;
	} regs[] = {
		{0x140, "USBCMD"}, {0x144, "USBSTS"}, {0x148, "USBINTR"}, {0x14c, "FRINDEX"},
		{0x154, "PERIODICLISTBASE"}, {0x158, "ASYNCLISTADDR"}, {0x180, "CONFIGFLAG"},
		{0x184, "PORTSC1"}, {0x1a4, "OTGSC"}, {0x1a8, "USBMODE"},
	};

	if (!started) {
		shell_warn(sh, "host not started: registers may be unreachable");
	}
	for (size_t i = 0; i < ARRAY_SIZE(regs); i++) {
		shell_print(sh, "%-16s 0x%08x", regs[i].name, sys_read32(base + regs[i].off));
	}
	return 0;
}

/* Extendable: other files add subcommands with SHELL_SUBCMD_ADD((usb2), ...) */
SHELL_SUBCMD_SET_CREATE(usb2_cmds, (usb2));
SHELL_SUBCMD_ADD((usb2), start, NULL, "start the USB2 host (EHCI)", cmd_usb2_start, 1, 0);
SHELL_SUBCMD_ADD((usb2), regs, NULL, "dump EHCI operational registers", cmd_usb2_regs, 1, 0);
SHELL_CMD_REGISTER(usb2, &usb2_cmds, "USB2 host on the M7", NULL);

#if defined(CONFIG_APP_USB2_AUTOSTART)
static int usb2_autostart(void)
{
	return usb2_start();
}
SYS_INIT(usb2_autostart, APPLICATION, 99);
#endif
```

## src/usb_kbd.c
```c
/*
 * Demo: print the keys pressed on a USB keyboard attached to USB2 (M7).
 *
 * A minimal HID class driver for boot-protocol keyboards (interface class 3,
 * subclass 1, protocol 1). It switches the keyboard to the boot protocol (a
 * fixed 8-byte report: modifiers, reserved, six key codes), keeps one
 * interrupt IN transfer in flight and prints every newly pressed key.
 * Debugging/demo only: optional at build time (CONFIG_APP_USB2_KBD_DEMO) and
 * at run time ("usb2 keys on|off").
 *
 * Copyright (c) 2026, imx95-devenv contributors
 * SPDX-License-Identifier: Apache-2.0
 */

#include <string.h>
#include <zephyr/kernel.h>
#include <zephyr/logging/log.h>
#include <zephyr/shell/shell.h>
#include <zephyr/sys/byteorder.h>
#include <zephyr/usb/usbh.h>

/* Private host stack headers (subsys/usb/host) */
#include "usbh_ch9.h"
#include "usbh_class.h"
#include "usbh_desc.h"
#include "usbh_device.h"

LOG_MODULE_REGISTER(m7_usb_kbd, LOG_LEVEL_INF);

#define HID_REQ_SET_IDLE	0x0a
#define HID_REQ_SET_PROTOCOL	0x0b
#define HID_PROTOCOL_BOOT	0

struct kbd_data {
	struct usb_device *udev;
	uint8_t iface;
	uint8_t ep;
	uint16_t mps;
	bool connected;
	uint8_t prev[6];
};

static struct kbd_data kbd;
static bool keys_enabled = true;

static const char *const named_keys[] = {
	[0x28] = "Enter", [0x29] = "Esc", [0x2a] = "Backspace", [0x2b] = "Tab", [0x2c] = "Space",
	[0x39] = "CapsLock", [0x46] = "PrintScreen", [0x47] = "ScrollLock", [0x48] = "Pause",
	[0x49] = "Insert", [0x4a] = "Home", [0x4b] = "PageUp", [0x4c] = "Delete", [0x4d] = "End",
	[0x4e] = "PageDown", [0x4f] = "Right", [0x50] = "Left", [0x51] = "Down", [0x52] = "Up",
	[0x53] = "NumLock", [0x58] = "KP-Enter", [0x65] = "Menu",
};

/* Printable keys: usage 0x1e..0x38 (digits and punctuation), unshifted/shifted */
static const char digits_punct[][2] = {
	{'1', '!'}, {'2', '@'}, {'3', '#'}, {'4', '$'}, {'5', '%'}, {'6', '^'}, {'7', '&'},
	{'8', '*'}, {'9', '('}, {'0', ')'},				/* 0x1e..0x27 */
	{0, 0}, {0, 0}, {0, 0}, {0, 0}, {0, 0},				/* 0x28..0x2c named */
	{'-', '_'}, {'=', '+'}, {'[', '{'}, {']', '}'}, {'\\', '|'},	/* 0x2d..0x31 */
	{'#', '~'}, {';', ':'}, {'\'', '"'}, {'`', '~'}, {',', '<'},	/* 0x32..0x36 */
	{'.', '>'}, {'/', '?'},						/* 0x37..0x38 */
};

static void key_name(uint8_t usage, bool shift, char *out, size_t len)
{
	if (usage >= 0x04 && usage <= 0x1d) {
		char c = 'a' + (usage - 0x04);

		snprintk(out, len, "'%c'", shift ? c - 'a' + 'A' : c);
	} else if (usage >= 0x1e && usage <= 0x38 && digits_punct[usage - 0x1e][0]) {
		snprintk(out, len, "'%c'", digits_punct[usage - 0x1e][shift ? 1 : 0]);
	} else if (usage >= 0x3a && usage <= 0x45) {
		snprintk(out, len, "F%u", usage - 0x3a + 1);
	} else if (usage < ARRAY_SIZE(named_keys) && named_keys[usage]) {
		snprintk(out, len, "%s", named_keys[usage]);
	} else {
		snprintk(out, len, "key 0x%02x", usage);
	}
}

static void kbd_report(const uint8_t *r, size_t len)
{
	if (len < 8) {
		return;
	}
	/* All slots 0x01: rollover error, report carries no keys */
	if (r[2] == 0x01) {
		return;
	}

	uint8_t mod = r[0];
	bool shift = mod & (BIT(1) | BIT(5));

	for (int i = 2; i < 8; i++) {
		uint8_t k = r[i];
		bool was_down = false;
		char name[16];

		if (k == 0) {
			continue;
		}
		for (int j = 0; j < 6; j++) {
			was_down |= kbd.prev[j] == k;
		}
		if (was_down || !keys_enabled) {
			continue;
		}
		key_name(k, shift, name, sizeof(name));
		LOG_INF("USB2 key: %s%s%s%s%s", (mod & (BIT(0) | BIT(4))) ? "Ctrl+" : "",
			(mod & (BIT(2) | BIT(6))) ? "Alt+" : "",
			(mod & (BIT(3) | BIT(7))) ? "Cmd+" : "",
			(shift && name[0] != '\'') ? "Shift+" : "", name);
	}
	memcpy(kbd.prev, &r[2], sizeof(kbd.prev));
}

static int kbd_in_cb(struct usb_device *const udev, struct uhc_transfer *const xfer);

static int kbd_arm(void)
{
	struct uhc_transfer *xfer;
	struct net_buf *buf;
	int ret;

	xfer = usbh_xfer_alloc(kbd.udev, kbd.ep, kbd_in_cb, &kbd);
	if (xfer == NULL) {
		return -ENOMEM;
	}
	buf = usbh_xfer_buf_alloc(kbd.udev, kbd.mps);
	if (buf == NULL) {
		(void)uhc_xfer_unref(xfer);
		return -ENOMEM;
	}
	xfer->buf = buf;
	ret = usbh_xfer_enqueue(kbd.udev, xfer);
	if (ret) {
		usbh_xfer_buf_free(kbd.udev, buf);
		(void)uhc_xfer_unref(xfer);
	}
	return ret;
}

static int kbd_in_cb(struct usb_device *const udev, struct uhc_transfer *const xfer)
{
	struct net_buf *buf = xfer->buf;
	int err = xfer->err;

	if (err == 0 && buf) {
		kbd_report(buf->data, buf->len);
	}
	if (buf) {
		net_buf_unref(buf);
	}
	(void)uhc_xfer_unref(xfer);

	if (!kbd.connected) {
		return 0;
	}
	if (err && err != -EPIPE) {
		LOG_WRN("USB2 keyboard: report transfer failed (%d), stopping", err);
		return 0;
	}
	return kbd_arm();
}

static int kbd_init(struct usbh_class_data *const c_data)
{
	return 0;
}

static int kbd_probe(struct usbh_class_data *const c_data, struct usb_device *const udev,
		     const uint8_t iface)
{
	const struct usb_desc_header *h;
	int ret;

	if (iface == USBH_CLASS_IFNUM_DEVICE || kbd.connected) {
		return -ENOTSUP;	/* interface-level only, one keyboard at a time */
	}

	h = usbh_desc_get_iface(udev, iface);
	kbd.ep = 0;
	for (h = h ? usbh_desc_get_next(h) : NULL; h != NULL; h = usbh_desc_get_next(h)) {
		if (h->bDescriptorType == USB_DESC_INTERFACE) {
			break;
		}
		if (usbh_desc_is_valid_endpoint(h)) {
			const struct usb_ep_descriptor *ep = (const void *)h;

			if (USB_EP_DIR_IS_IN(ep->bEndpointAddress) &&
			    (ep->bmAttributes & USB_EP_TRANSFER_TYPE_MASK) == USB_EP_TYPE_INTERRUPT) {
				kbd.ep = ep->bEndpointAddress;
				kbd.mps = sys_le16_to_cpu(ep->wMaxPacketSize) & 0x7ff;
				break;
			}
		}
	}
	if (kbd.ep == 0) {
		return -ENOTSUP;
	}

	kbd.udev = udev;
	kbd.iface = iface;
	memset(kbd.prev, 0, sizeof(kbd.prev));

	/* Boot protocol: fixed 8-byte reports; idle 0: report only on change */
	ret = usbh_req_setup(udev, USB_REQTYPE_TYPE_CLASS << 5 | USB_REQTYPE_RECIPIENT_INTERFACE,
			     HID_REQ_SET_PROTOCOL, HID_PROTOCOL_BOOT, iface, 0, NULL);
	if (ret) {
		LOG_WRN("USB2 keyboard: SET_PROTOCOL failed (%d)", ret);
	}
	(void)usbh_req_setup(udev, USB_REQTYPE_TYPE_CLASS << 5 | USB_REQTYPE_RECIPIENT_INTERFACE,
			     HID_REQ_SET_IDLE, 0, iface, 0, NULL);

	kbd.connected = true;
	ret = kbd_arm();
	if (ret) {
		kbd.connected = false;
		LOG_ERR("USB2 keyboard: cannot start reports (%d)", ret);
		return ret;
	}
	LOG_INF("USB2 keyboard at address %u interface %u: key presses are printed%s",
		udev->addr, iface, keys_enabled ? "" : " (now off: usb2 keys on)");
	return 0;
}

static int kbd_removed(struct usbh_class_data *const c_data)
{
	kbd.connected = false;	/* the pending transfer completes with an error and stops */
	LOG_INF("USB2 keyboard removed");
	return 0;
}

static struct usbh_class_api kbd_api = {
	.init = kbd_init,
	.probe = kbd_probe,
	.removed = kbd_removed,
};

static struct usbh_class_filter kbd_filters[] = {
	{
		.class = USB_BCC_HID,
		.sub = 1,	/* boot interface */
		.proto = 1,	/* keyboard */
		.flags = USBH_CLASS_MATCH_CODE_TRIPLE,
	},
	{0},
};

USBH_DEFINE_CLASS(m7_usb_kbd_demo, &kbd_api, NULL, kbd_filters);

static int cmd_keys(const struct shell *sh, size_t argc, char **argv)
{
	if (argc > 1) {
		keys_enabled = strcmp(argv[1], "off") != 0;
	}
	shell_print(sh, "key printing %s, keyboard %s", keys_enabled ? "on" : "off",
		    kbd.connected ? "attached" : "not attached");
	return 0;
}

SHELL_SUBCMD_ADD((usb2), keys, NULL, "[on|off] print keyboard key presses (demo)", cmd_keys, 1,
		 1);
```
